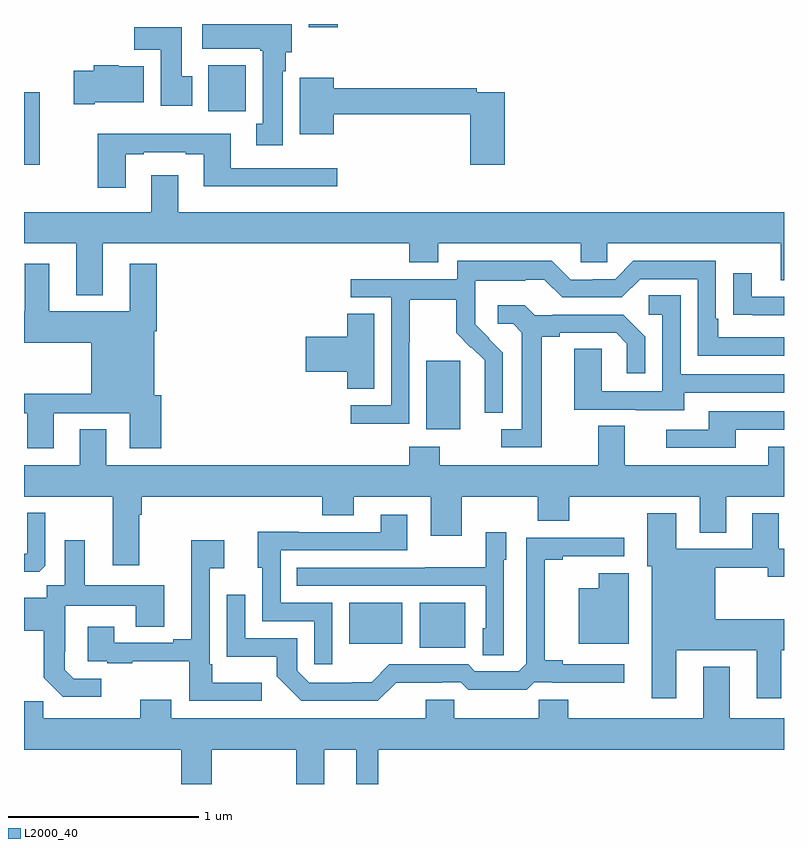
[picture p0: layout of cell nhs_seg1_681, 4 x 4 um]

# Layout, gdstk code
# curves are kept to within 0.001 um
import gdstk
lib = gdstk.Library(unit=1e-6, precision=1e-09)
def R(c, l, rs):  # rectangles x0, y0, x1, y1
    for r in rs: c.add(gdstk.rectangle(r[:2], r[2:], *l))
def P(c, l, *ps):  # polygons
    for p in ps: c.add(gdstk.Polygon(p, *l))
L2000_40 = (2000, 40)

nhs_seg1_681 = lib.new_cell('nhs_seg1_681')
R(nhs_seg1_681, L2000_40, [(149.084,570.917,149.323,571.153), (148.712,570.938,148.99,571.153), (149.117,572.066,149.296,572.427), (147,573.459,147.084,573.84), (147.971,573.74,148.168,573.982), (148.499,574.182,148.652,574.199)])
P(nhs_seg1_681, L2000_40, [(148.363,573.95),(148.378,573.95),(148.378,574.05),(148.408,574.05),(148.408,574.199),(147.939,574.199),(147.939,574.07),(148.243,574.07),(148.243,574.057),(148.256,574.057),(148.256,573.674),(148.223,573.674),(148.223,573.561),(148.363,573.561)],
  [(147.886,573.924),(147.829,573.924),(147.829,574.183),(147.58,574.183),(147.58,574.064),(147.719,574.064),(147.719,573.768),(147.886,573.768)],
  [(147.373,573.788),(147.631,573.788),(147.631,573.976),(147.498,573.976),(147.498,573.982),(147.368,573.982),(147.368,573.954),(147.261,573.954),(147.261,573.776),(147.373,573.776)],
  [(149.531,573.84),(149.384,573.84),(149.384,573.86),(148.63,573.86),(148.63,573.916),(148.451,573.916),(148.451,573.62),(148.63,573.62),(148.63,573.724),(149.348,573.724),(149.348,573.459),(149.531,573.459)],
  [(147.535,573.513),(147.631,573.513),(147.631,573.525),(147.851,573.525),(147.851,573.513),(147.947,573.513),(147.947,573.344),(148.648,573.344),(148.648,573.441),(148.087,573.441),(148.087,573.622),(147.388,573.622),(147.388,573.336),(147.535,573.336)],
  [(147.415,573.044),(149.027,573.044),(149.027,572.945),(149.179,572.945),(149.179,573.044),(149.931,573.044),(149.931,572.946),(150.069,572.946),(150.069,573.044),(150.983,573.044),(150.983,572.85),(151,572.85),(151,573.208),(147.811,573.208),(147.811,573.403),(147.671,573.403),(147.671,573.208),(147,573.208),(147,573.044),(147.275,573.044),(147.275,572.771),(147.415,572.771)],
  [(149.028,572.524),(149.031,572.524),(149.031,572.748),(149.275,572.748),(149.275,572.573),(149.352,572.496),(149.355,572.499),(149.426,572.429),(149.426,572.306),(149.424,572.306),(149.424,572.152),(149.52,572.152),(149.52,572.47),(149.374,572.618),(149.374,572.715),(149.376,572.715),(149.376,572.849),(149.639,572.849),(149.639,572.853),(149.739,572.853),(149.832,572.76),(150.147,572.76),(150.243,572.856),(150.546,572.856),(150.546,572.454),(151,572.454),(151,572.55),(150.655,572.55),(150.655,572.647),(150.642,572.647),(150.642,572.952),(150.207,572.952),(150.111,572.856),(149.993,572.856),(149.993,572.853),(149.877,572.853),(149.777,572.953),(149.28,572.953),(149.28,572.856),(148.719,572.856),(148.719,572.76),(148.932,572.76),(148.932,572.193),(148.719,572.193),(148.719,572.095),(149.028,572.095)],
  [(147.157,572.151),(147.557,572.151),(147.557,571.965),(147.722,571.965),(147.722,572.244),(147.685,572.244),(147.685,572.582),(147.698,572.582),(147.698,572.938),(147.557,572.938),(147.557,572.686),(147.133,572.686),(147.133,572.938),(147.005,572.938),(147.005,572.686),(147,572.686),(147,572.522),(147.353,572.522),(147.353,572.252),(147,572.252),(147,572.151),(147.017,572.151),(147.017,571.965),(147.157,571.965)],
  [(151,572.763),(150.829,572.763),(150.829,572.887),(150.733,572.887),(150.733,572.668),(150.835,572.668),(150.835,572.667),(151,572.667)],
  [(150.475,572.259),(151,572.259),(151,572.355),(150.456,572.355),(150.456,572.771),(150.288,572.771),(150.288,572.67),(150.36,572.67),(150.36,572.265),(150.042,572.265),(150.042,572.489),(149.897,572.489),(149.897,572.169),(150.221,572.169),(150.221,572.165),(150.475,572.165)],
  [(149.725,572.552),(149.821,572.552),(149.821,572.574),(150.116,572.574),(150.173,572.517),(150.173,572.361),(150.27,572.361),(150.27,572.554),(150.154,572.67),(149.782,572.67),(149.782,572.667),(149.688,572.667),(149.636,572.719),(149.493,572.719),(149.493,572.622),(149.574,572.622),(149.621,572.575),(149.621,572.067),(149.511,572.067),(149.511,571.971),(149.725,571.971)],
  [(148.843,572.675),(148.7,572.675),(148.7,572.552),(148.482,572.552),(148.482,572.369),(148.7,572.369),(148.7,572.278),(148.843,572.278)],
  [(150.745,572.064),(151,572.064),(151,572.16),(150.605,572.16),(150.605,572.064),(150.381,572.064),(150.381,571.968),(150.745,571.968)],
  [(147.607,571.616),(147.62,571.616),(147.62,571.712),(148.571,571.712),(148.571,571.613),(148.735,571.613),(148.735,571.712),(149.141,571.712),(149.141,571.506),(149.305,571.506),(149.305,571.712),(149.705,571.712),(149.705,571.584),(149.869,571.584),(149.869,571.712),(150.557,571.712),(150.557,571.522),(150.697,571.522),(150.697,571.712),(151,571.712),(151,571.975),(150.917,571.975),(150.917,571.876),(150.163,571.876),(150.163,572.084),(150.023,572.084),(150.023,571.876),(149.187,571.876),(149.187,571.975),(149.027,571.975),(149.027,571.876),(147.433,571.876),(147.433,572.066),(147.293,572.066),(147.293,571.876),(147,571.876),(147,571.712),(147.467,571.712),(147.467,571.35),(147.607,571.35)],
  [(147.111,571.347),(147.111,571.627),(147.018,571.627),(147.018,571.41),(147,571.41),(147,571.316),(147.079,571.316)],
  [(150.433,570.902),(150.857,570.902),(150.857,570.651),(150.985,570.651),(150.985,570.902),(151,570.902),(151,571.066),(150.637,571.066),(150.637,571.336),(150.914,571.336),(150.914,571.289),(151,571.289),(151,571.438),(150.973,571.438),(150.973,571.624),(150.833,571.624),(150.833,571.437),(150.433,571.437),(150.433,571.624),(150.281,571.624),(150.281,571.344),(150.305,571.344),(150.305,570.651),(150.433,570.651)],
  [(148.623,571.152),(148.35,571.152),(148.35,571.428),(149.017,571.428),(149.017,571.615),(148.877,571.615),(148.877,571.524),(148.447,571.524),(148.447,571.526),(148.229,571.526),(148.229,571.338),(148.254,571.338),(148.254,571.056),(148.527,571.056),(148.527,570.828),(148.623,570.828)],
  [(149.526,571.38),(149.539,571.38),(149.539,571.525),(149.43,571.525),(149.43,571.339),(149.113,571.339),(149.113,571.338),(148.435,571.338),(148.435,571.242),(149.43,571.242),(149.43,571.02),(149.414,571.02),(149.414,570.877),(149.526,570.877)],
  [(148.958,570.731),(149.198,570.731),(149.198,570.735),(149.298,570.735),(149.338,570.696),(149.645,570.696),(149.685,570.735),(149.779,570.735),(149.779,570.731),(150.16,570.731),(150.16,570.828),(149.836,570.828),(149.836,570.851),(149.741,570.851),(149.741,571.378),(149.836,571.378),(149.836,571.398),(150.16,571.398),(150.16,571.494),(149.643,571.494),(149.643,570.831),(149.604,570.792),(149.373,570.792),(149.337,570.828),(148.923,570.828),(148.829,570.734),(148.724,570.734),(148.724,570.732),(148.5,570.732),(148.437,570.795),(148.437,570.966),(148.164,570.966),(148.164,571.195),(148.068,571.195),(148.068,570.869),(148.33,570.869),(148.33,570.767),(148.46,570.636),(148.863,570.636)],
  [(148.252,570.733),(147.991,570.733),(147.991,570.829),(147.978,570.829),(147.978,571.334),(148.054,571.334),(148.054,571.483),(147.881,571.483),(147.881,570.961),(147.785,570.961),(147.785,570.942),(147.475,570.942),(147.475,571.027),(147.335,571.027),(147.335,570.846),(147.439,570.846),(147.439,570.834),(147.571,570.834),(147.571,570.845),(147.87,570.845),(147.87,570.636),(148.252,570.636)],
  [(147.406,570.753),(147.261,570.753),(147.214,570.8),(147.214,570.895),(147.216,570.895),(147.216,571.136),(147.587,571.136),(147.587,571.027),(147.739,571.027),(147.739,571.246),(147.319,571.246),(147.319,571.483),(147.215,571.483),(147.215,571.244),(147.12,571.244),(147.12,571.18),(147,571.18),(147,571.005),(147.105,571.005),(147.105,570.759),(147.205,570.659),(147.406,570.659)],
  [(150.184,571.309),(150.026,571.309),(150.026,571.228),(149.921,571.228),(149.921,570.938),(150.184,570.938)],
  [(147.987,570.38),(148.432,570.38),(148.432,570.199),(148.579,570.199),(148.579,570.38),(148.748,570.38),(148.748,570.199),(148.865,570.199),(148.865,570.38),(151,570.38),(151,570.544),(150.715,570.544),(150.715,570.817),(150.575,570.817),(150.575,570.544),(149.865,570.544),(149.865,570.642),(149.71,570.642),(149.71,570.544),(149.265,570.544),(149.265,570.642),(149.114,570.642),(149.114,570.544),(147.775,570.544),(147.775,570.643),(147.611,570.643),(147.611,570.544),(147.101,570.544),(147.101,570.635),(147,570.635),(147,570.38),(147.827,570.38),(147.827,570.199),(147.987,570.199)])

lib.write_gds('nhs_seg1_681.gds')
